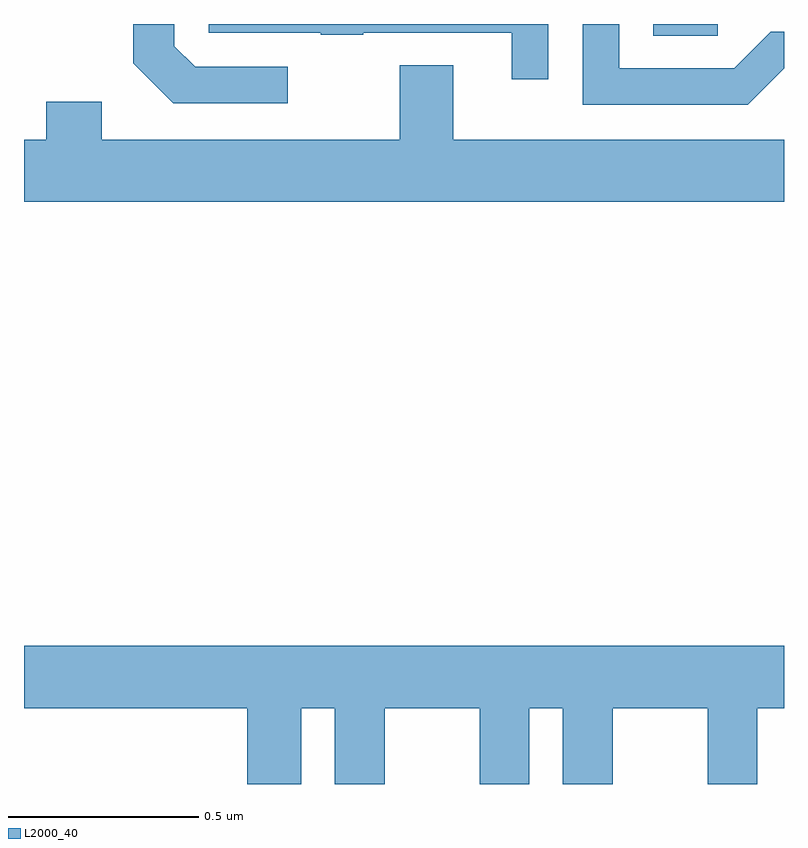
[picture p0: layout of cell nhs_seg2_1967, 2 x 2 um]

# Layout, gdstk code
import gdstk
lib = gdstk.Library(unit=1e-6, precision=1e-09)
def R(c, l, rs):  # rectangles x0, y0, x1, y1
    for r in rs: c.add(gdstk.rectangle(r[:2], r[2:], *l))
def P(c, l, *ps):  # polygons
    for p in ps: c.add(gdstk.Polygon(p, *l))
L2000_40 = (2000, 40)

nhs_seg2_1967 = lib.new_cell('nhs_seg2_1967')
R(nhs_seg2_1967, L2000_40, [(136.656,618.769,136.825,618.8)])
P(nhs_seg2_1967, L2000_40, [(136.379,618.8),(135.486,618.8),(135.486,618.777),(135.781,618.777),(135.781,618.772),(135.893,618.772),(135.893,618.777),(136.283,618.777),(136.283,618.654),(136.379,618.654)],
  [(135.694,618.687),(135.45,618.687),(135.396,618.741),(135.396,618.8),(135.288,618.8),(135.288,618.697),(135.393,618.591),(135.694,618.591)],
  [(137,618.683),(137,618.78),(136.965,618.78),(136.869,618.684),(136.566,618.684),(136.566,618.8),(136.47,618.8),(136.47,618.588),(136.905,618.588)],
  [(137,618.496),(136.129,618.496),(136.129,618.691),(135.989,618.691),(135.989,618.496),(135.205,618.496),(135.205,618.595),(135.058,618.595),(135.058,618.496),(135,618.496),(135,618.332),(137,618.332)],
  [(135.73,617),(135.818,617),(135.818,616.8),(135.949,616.8),(135.949,617),(136.199,617),(136.199,616.8),(136.33,616.8),(136.33,617),(136.418,617),(136.418,616.8),(136.549,616.8),(136.549,617),(136.799,617),(136.799,616.8),(136.93,616.8),(136.93,617),(137,617),(137,617.164),(135,617.164),(135,617),(135.587,617),(135.587,616.8),(135.73,616.8)])

lib.write_gds('nhs_seg2_1967.gds')
